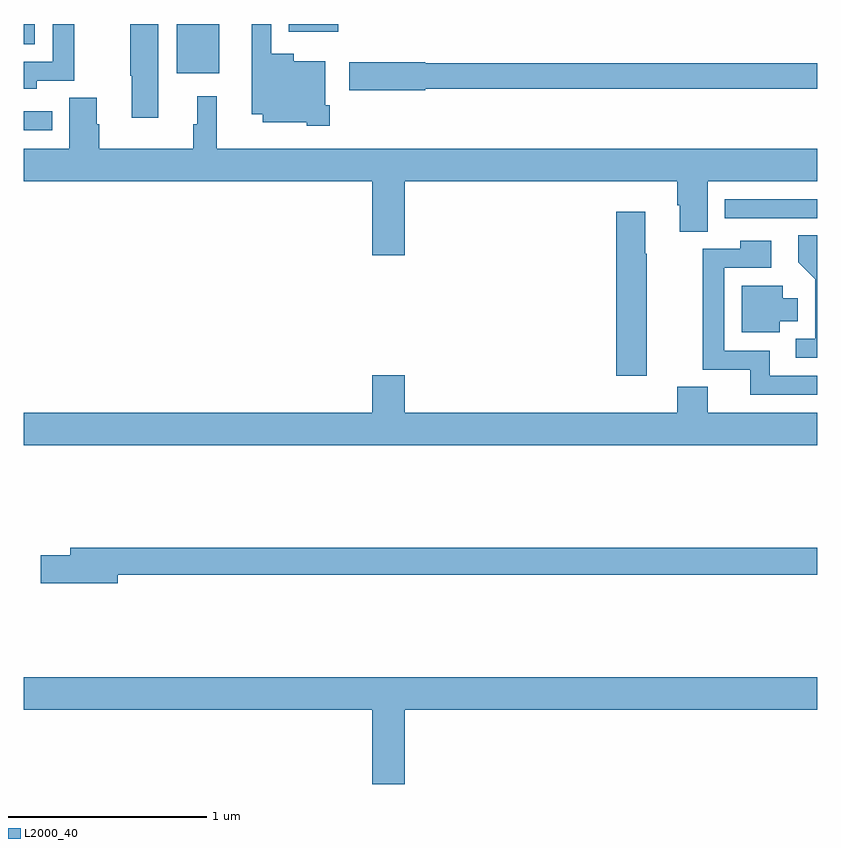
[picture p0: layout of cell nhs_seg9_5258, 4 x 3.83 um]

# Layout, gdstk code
import gdstk
lib = gdstk.Library(unit=1e-6, precision=1e-09)
def R(c, l, rs):  # rectangles x0, y0, x1, y1
    for r in rs: c.add(gdstk.rectangle(r[:2], r[2:], *l))
def P(c, l, *ps):  # polygons
    for p in ps: c.add(gdstk.Polygon(p, *l))
L2000_40 = (2000, 40)

nhs_seg9_5258 = lib.new_cell('nhs_seg9_5258')
R(nhs_seg9_5258, L2000_40, [(418.532,1241.52,419,1241.616), (415,1241.964,415.144,1242.06), (415.772,1242.251,415.987,1242.5), (415,1242.398,415.057,1242.5), (416.336,1242.461,416.585,1242.5)])
P(nhs_seg9_5258, L2000_40, [(416.543,1242.091),(416.521,1242.091),(416.521,1242.313),(416.362,1242.313),(416.362,1242.349),(416.247,1242.349),(416.247,1242.5),(416.15,1242.5),(416.15,1242.044),(416.204,1242.044),(416.204,1242.005),(416.427,1242.005),(416.427,1241.987),(416.543,1241.987)],
  [(415.678,1242.5),(415.537,1242.5),(415.537,1242.239),(415.544,1242.239),(415.544,1242.027),(415.678,1242.027)],
  [(415.065,1242.213),(415.255,1242.213),(415.255,1242.5),(415.146,1242.5),(415.146,1242.309),(415,1242.309),(415,1242.173),(415.065,1242.173)],
  [(417.024,1242.174),(419,1242.174),(419,1242.302),(417.024,1242.302),(417.024,1242.308),(416.64,1242.308),(416.64,1242.166),(417.024,1242.166)],
  [(416.756,1241.334),(416.92,1241.334),(416.92,1241.708),(418.295,1241.708),(418.295,1241.586),(418.307,1241.586),(418.307,1241.452),(418.447,1241.452),(418.447,1241.708),(419,1241.708),(419,1241.872),(415.974,1241.872),(415.974,1242.136),(415.874,1242.136),(415.874,1241.996),(415.855,1241.996),(415.855,1241.872),(415.382,1241.872),(415.382,1241.994),(415.369,1241.994),(415.369,1242.128),(415.229,1242.128),(415.229,1241.872),(415,1241.872),(415,1241.708),(416.756,1241.708)],
  [(418.14,1241.341),(418.132,1241.341),(418.132,1241.554),(417.986,1241.554),(417.986,1240.728),(418.14,1240.728)],
  [(419,1241.435),(418.903,1241.435),(418.903,1241.299),(418.989,1241.213),(418.989,1240.914),(418.89,1240.914),(418.89,1240.818),(419,1240.818)],
  [(419,1240.728),(418.759,1240.728),(418.759,1240.854),(418.53,1240.854),(418.53,1241.271),(418.768,1241.271),(418.768,1241.407),(418.612,1241.407),(418.612,1241.367),(418.422,1241.367),(418.422,1240.758),(418.661,1240.758),(418.661,1240.632),(419,1240.632)],
  [(418.81,1241.003),(418.9,1241.003),(418.9,1241.119),(418.825,1241.119),(418.825,1241.182),(418.619,1241.182),(418.619,1240.946),(418.81,1240.946)],
  [(419,1240.54),(418.447,1240.54),(418.447,1240.673),(418.295,1240.673),(418.295,1240.54),(416.92,1240.54),(416.92,1240.729),(416.756,1240.729),(416.756,1240.54),(415,1240.54),(415,1240.376),(419,1240.376)],
  [(415.474,1239.724),(419,1239.724),(419,1239.86),(415.235,1239.86),(415.235,1239.824),(415.086,1239.824),(415.086,1239.682),(415.474,1239.682)],
  [(416.92,1239.044),(419,1239.044),(419,1239.208),(415,1239.208),(415,1239.044),(416.756,1239.044),(416.756,1238.67),(416.92,1238.67)])

lib.write_gds('nhs_seg9_5258.gds')
